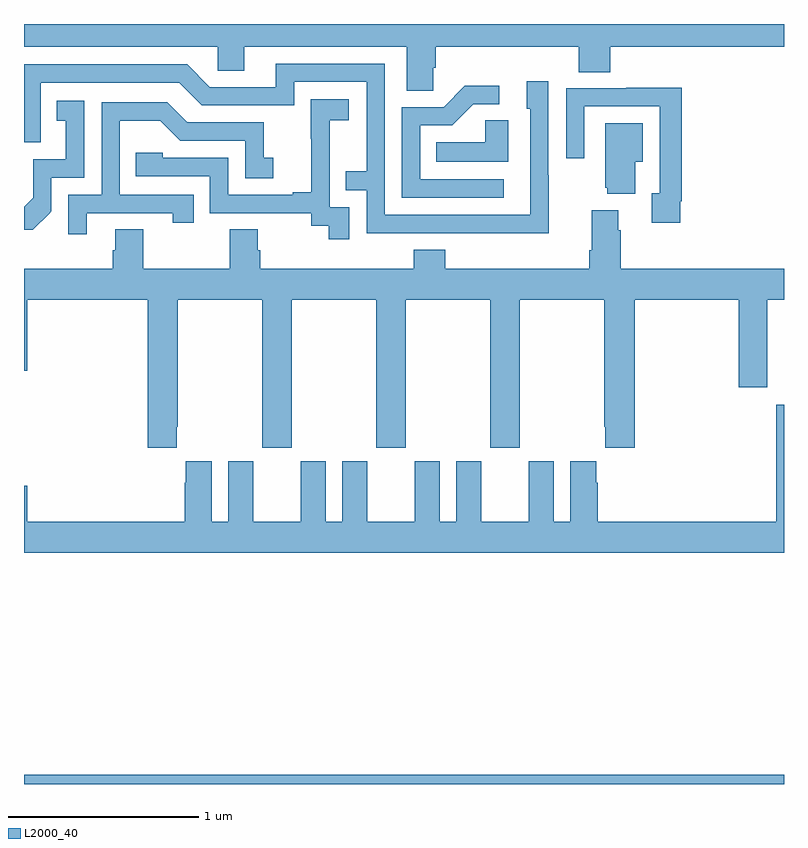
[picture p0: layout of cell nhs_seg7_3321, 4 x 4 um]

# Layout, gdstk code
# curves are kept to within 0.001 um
import gdstk
lib = gdstk.Library(unit=1e-6, precision=1e-09)
def R(c, l, rs):  # rectangles x0, y0, x1, y1
    for r in rs: c.add(gdstk.rectangle(r[:2], r[2:], *l))
def P(c, l, *ps):  # polygons
    for p in ps: c.add(gdstk.Polygon(p, *l))
L2000_40 = (2000, 40)

nhs_seg7_3321 = lib.new_cell('nhs_seg7_3321')
R(nhs_seg7_3321, L2000_40, [(321,1066,325,1066.048)])
P(nhs_seg7_3321, L2000_40, [(323.154,1069.771),(323.168,1069.771),(323.168,1069.88),(323.921,1069.88),(323.921,1069.747),(324.086,1069.747),(324.086,1069.88),(325,1069.88),(325,1070),(321,1070),(321,1069.88),(322.02,1069.88),(322.02,1069.753),(322.159,1069.753),(322.159,1069.88),(323.015,1069.88),(323.015,1069.648),(323.154,1069.648)],
  [(323.763,1069.205),(323.76,1069.205),(323.76,1069.699),(323.645,1069.699),(323.645,1069.554),(323.664,1069.554),(323.664,1068.996),(322.899,1068.996),(322.899,1069.791),(322.325,1069.791),(322.325,1069.668),(321.978,1069.668),(321.858,1069.788),(321,1069.788),(321,1069.377),(321.087,1069.377),(321.087,1069.692),(321.816,1069.692),(321.936,1069.572),(322.422,1069.572),(322.422,1069.695),(322.803,1069.695),(322.803,1069.226),(322.693,1069.226),(322.693,1069.125),(322.803,1069.125),(322.803,1068.9),(323.763,1068.899)],
  [(323.524,1069.182),(323.085,1069.182),(323.085,1069.467),(323.254,1069.467),(323.365,1069.578),(323.5,1069.578),(323.5,1069.676),(323.321,1069.676),(323.208,1069.563),(322.989,1069.563),(322.989,1069.086),(323.524,1069.086)],
  [(324.454,1069.066),(324.461,1069.066),(324.461,1069.664),(324.169,1069.664),(324.169,1069.662),(323.853,1069.662),(323.853,1069.293),(323.949,1069.293),(323.949,1069.566),(324.345,1069.566),(324.345,1069.11),(324.305,1069.11),(324.305,1068.954),(324.454,1068.954)],
  [(322.713,1069.035),(322.608,1069.035),(322.608,1069.265),(322.61,1069.265),(322.61,1069.493),(322.708,1069.493),(322.708,1069.603),(322.51,1069.603),(322.51,1069.397),(322.511,1069.397),(322.511,1069.114),(322.415,1069.114),(322.415,1069.101),(322.074,1069.101),(322.074,1069.296),(321.729,1069.296),(321.729,1069.323),(321.589,1069.323),(321.589,1069.2),(321.978,1069.2),(321.978,1069.005),(322.512,1069.005),(322.512,1068.937),(322.605,1068.937),(322.605,1068.867),(322.713,1068.867)],
  [(321.135,1069.005),(321.144,1069.014),(321.144,1069.191),(321.318,1069.191),(321.318,1069.597),(321.172,1069.597),(321.172,1069.491),(321.221,1069.491),(321.221,1069.287),(321.048,1069.287),(321.048,1069.086),(321,1069.038),(321,1068.917),(321.046,1068.917)],
  [(321.331,1069.005),(321.782,1069.005),(321.782,1068.954),(321.893,1068.954),(321.893,1069.101),(321.504,1069.101),(321.504,1069.49),(321.718,1069.49),(321.822,1069.386),(322.164,1069.386),(322.164,1069.188),(322.312,1069.188),(322.312,1069.297),(322.263,1069.297),(322.263,1069.482),(321.859,1069.482),(321.754,1069.587),(321.408,1069.587),(321.408,1069.101),(321.234,1069.101),(321.234,1068.894),(321.331,1068.894)],
  [(323.548,1069.493),(323.427,1069.493),(323.427,1069.378),(323.17,1069.378),(323.17,1069.274),(323.548,1069.274)],
  [(324.217,1069.274),(324.256,1069.274),(324.256,1069.477),(324.059,1069.477),(324.059,1069.137),(324.071,1069.137),(324.071,1069.106),(324.217,1069.106)],
  [(321.805,1067.881),(321.81,1067.881),(321.81,1068.548),(322.255,1068.548),(322.255,1067.769),(322.41,1067.769),(322.41,1068.548),(322.855,1068.548),(322.855,1067.769),(323.01,1067.769),(323.01,1068.548),(323.455,1068.548),(323.455,1067.769),(323.61,1067.769),(323.61,1068.548),(324.055,1068.548),(324.055,1067.881),(324.059,1067.881),(324.059,1067.769),(324.215,1067.769),(324.215,1068.548),(324.761,1068.548),(324.761,1068.087),(324.913,1068.087),(324.913,1068.548),(325,1068.548),(325,1068.712),(324.14,1068.712),(324.14,1068.914),(324.127,1068.914),(324.127,1069.021),(323.987,1069.021),(323.987,1068.808),(323.975,1068.808),(323.975,1068.712),(323.216,1068.712),(323.216,1068.811),(323.051,1068.811),(323.051,1068.712),(322.244,1068.712),(322.244,1068.81),(322.231,1068.81),(322.231,1068.92),(322.084,1068.92),(322.084,1068.712),(321.627,1068.712),(321.627,1068.92),(321.479,1068.92),(321.479,1068.81),(321.467,1068.81),(321.467,1068.712),(321,1068.712),(321,1068.174),(321.016,1068.174),(321.016,1068.548),(321.65,1068.548),(321.65,1067.769),(321.805,1067.769)],
  [(325,1067.995),(324.959,1067.995),(324.959,1067.38),(324.02,1067.38),(324.02,1067.585),(324.013,1067.585),(324.013,1067.698),(323.876,1067.698),(323.876,1067.38),(323.788,1067.38),(323.788,1067.698),(323.657,1067.698),(323.657,1067.38),(323.407,1067.38),(323.407,1067.698),(323.276,1067.698),(323.276,1067.38),(323.188,1067.38),(323.188,1067.698),(323.057,1067.698),(323.057,1067.38),(322.807,1067.38),(322.807,1067.698),(322.676,1067.698),(322.676,1067.38),(322.588,1067.38),(322.588,1067.698),(322.457,1067.698),(322.457,1067.38),(322.207,1067.38),(322.207,1067.698),(322.076,1067.698),(322.076,1067.38),(321.988,1067.38),(321.988,1067.698),(321.851,1067.698),(321.851,1067.585),(321.845,1067.585),(321.845,1067.38),(321.016,1067.38),(321.016,1067.569),(321,1067.569),(321,1067.216),(325,1067.216)])

lib.write_gds('nhs_seg7_3321.gds')
